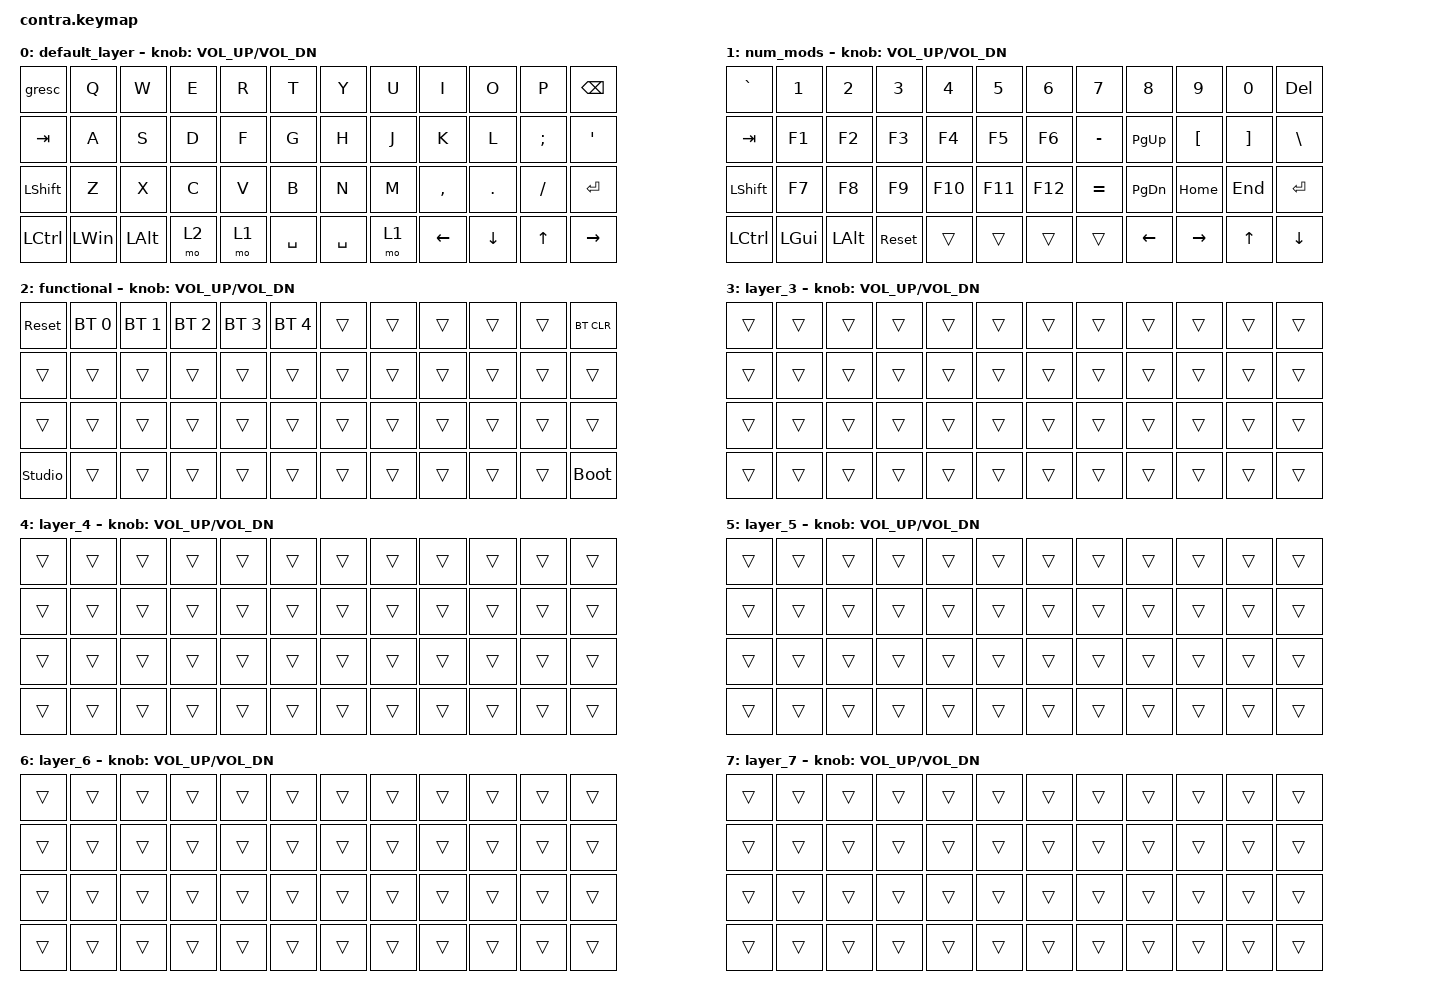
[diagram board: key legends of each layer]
/*
 * Copyright (c) 2021 The ZMK Contributors
 *
 * SPDX-License-Identifier: MIT
 */

#include <behaviors.dtsi>
#include <dt-bindings/gpio/gpio.h>
#include <dt-bindings/zmk/bt.h>
#include <dt-bindings/zmk/keys.h>

#define DEFAULT     0
#define NUM_MODS    1
#define functional  2

/ {
    encoder_0: encoder_0 {
        compatible = "alps,ec11";
        a-gpios = <&pro_micro 15 (GPIO_ACTIVE_HIGH | GPIO_PULL_UP)>;
        b-gpios = <&pro_micro 18 (GPIO_ACTIVE_HIGH | GPIO_PULL_UP)>;
        steps = <80>;
        status = "okay";
    };

    sensors: sensors {
        compatible = "zmk,keymap-sensors";
        sensors = <&encoder_0>;
        triggers-per-rotation = <20>;
    };

    behaviors {
        td_ESC: tap_dance_0 {
            compatible = "zmk,behavior-tap-dance";
            #binding-cells = <0>;
            tapping-term-ms = <200>;
            bindings = <&kp ESC>, <&kp CAPS>;
        };

        td_ESC_grave: tap_dance_1 {
            compatible = "zmk,behavior-tap-dance";
            #binding-cells = <0>;
            tapping-term-ms = <200>;
            bindings = <&kp ESC>, <&kp GRAVE>;
        };

        lr_up: layer_up {
            compatible = "zmk,behavior-mod-morph";
            #binding-cells = <0>;
            bindings = <&to 0>, <&to 0>;

            mods = <(MOD_LSFT)>;
        };

        lr_upg: layer_up_game_mode {
            compatible = "zmk,behavior-mod-morph";
            #binding-cells = <0>;
            bindings = <&mo 0>, <&to 0>;

            mods = <(MOD_LSFT)>;
        };
    };

    keymap {
        compatible = "zmk,keymap";

        default_layer {
            sensor-bindings = <&inc_dec_kp C_VOL_UP C_VOL_DN>;
            bindings = <
&gresc     &kp Q         &kp W         &kp E  &kp R  &kp T      &kp Y      &kp U  &kp I      &kp O     &kp P          &kp BSPC
&kp TAB    &kp A         &kp S         &kp D  &kp F  &kp G      &kp H      &kp J  &kp K      &kp L     &kp SEMICOLON  &kp SQT
&kp LSHFT  &kp Z         &kp X         &kp C  &kp V  &kp B      &kp N      &kp M  &kp COMMA  &kp DOT   &kp FSLH       &kp ENTER
&kp LCTRL  &kp LEFT_WIN  &kp LEFT_ALT  &mo 2  &mo 1  &kp SPACE  &kp SPACE  &mo 1  &kp LEFT   &kp DOWN  &kp UP         &kp RIGHT
            >;
        };

        num_mods {
            sensor-bindings = <&inc_dec_kp C_VOL_UP C_VOL_DN>;
            bindings = <
&kp GRAVE  &kp N1    &kp N2    &kp N3      &kp N4   &kp N5   &kp N6   &kp N7     &kp N8     &kp N9     &kp N0    &kp DEL
&kp TAB    &kp F1    &kp F2    &kp F3      &kp F4   &kp F5   &kp F6   &kp MINUS  &kp PG_UP  &kp LBKT   &kp RBKT  &kp BSLH
&kp LSHFT  &kp F7    &kp F8    &kp F9      &kp F10  &kp F11  &kp F12  &kp EQUAL  &kp PG_DN  &kp HOME   &kp END   &kp ENTER
&kp LCTRL  &kp LGUI  &kp LALT  &sys_reset  &trans   &trans   &trans   &trans     &kp LEFT   &kp RIGHT  &kp UP    &kp DOWN
            >;
        };

        functional {
            sensor-bindings = <&inc_dec_kp C_VOL_UP C_VOL_DN>;
            bindings = <
&sys_reset      &bt BT_SEL 0  &bt BT_SEL 1  &bt BT_SEL 2  &bt BT_SEL 3  &bt BT_SEL 4  &trans  &trans  &trans  &trans  &trans  &bt BT_CLR
&trans          &trans        &trans        &trans        &trans        &trans        &trans  &trans  &trans  &trans  &trans  &trans
&trans          &trans        &trans        &trans        &trans        &trans        &trans  &trans  &trans  &trans  &trans  &trans
&studio_unlock  &trans        &trans        &trans        &trans        &trans        &trans  &trans  &trans  &trans  &trans  &bootloader
            >;
        };

        layer_3 {
            sensor-bindings = <&inc_dec_kp C_VOL_UP C_VOL_DN>;
            bindings = <
&trans  &trans  &trans  &trans  &trans  &trans  &trans  &trans  &trans  &trans  &trans  &trans
&trans  &trans  &trans  &trans  &trans  &trans  &trans  &trans  &trans  &trans  &trans  &trans
&trans  &trans  &trans  &trans  &trans  &trans  &trans  &trans  &trans  &trans  &trans  &trans
&trans  &trans  &trans  &trans  &trans  &trans  &trans  &trans  &trans  &trans  &trans  &trans
            >;
        };

        layer_4 {
            sensor-bindings = <&inc_dec_kp C_VOL_UP C_VOL_DN>;
            bindings = <
&trans  &trans  &trans  &trans  &trans  &trans  &trans  &trans  &trans  &trans  &trans  &trans
&trans  &trans  &trans  &trans  &trans  &trans  &trans  &trans  &trans  &trans  &trans  &trans
&trans  &trans  &trans  &trans  &trans  &trans  &trans  &trans  &trans  &trans  &trans  &trans
&trans  &trans  &trans  &trans  &trans  &trans  &trans  &trans  &trans  &trans  &trans  &trans
            >;
        };

        layer_5 {
            sensor-bindings = <&inc_dec_kp C_VOL_UP C_VOL_DN>;
            bindings = <
&trans  &trans  &trans  &trans  &trans  &trans  &trans  &trans  &trans  &trans  &trans  &trans
&trans  &trans  &trans  &trans  &trans  &trans  &trans  &trans  &trans  &trans  &trans  &trans
&trans  &trans  &trans  &trans  &trans  &trans  &trans  &trans  &trans  &trans  &trans  &trans
&trans  &trans  &trans  &trans  &trans  &trans  &trans  &trans  &trans  &trans  &trans  &trans
            >;
        };

        layer_6 {
            sensor-bindings = <&inc_dec_kp C_VOL_UP C_VOL_DN>;
            bindings = <
&trans  &trans  &trans  &trans  &trans  &trans  &trans  &trans  &trans  &trans  &trans  &trans
&trans  &trans  &trans  &trans  &trans  &trans  &trans  &trans  &trans  &trans  &trans  &trans
&trans  &trans  &trans  &trans  &trans  &trans  &trans  &trans  &trans  &trans  &trans  &trans
&trans  &trans  &trans  &trans  &trans  &trans  &trans  &trans  &trans  &trans  &trans  &trans
            >;
        };

        layer_7 {
            sensor-bindings = <&inc_dec_kp C_VOL_UP C_VOL_DN>;
            bindings = <
&trans  &trans  &trans  &trans  &trans  &trans  &trans  &trans  &trans  &trans  &trans  &trans
&trans  &trans  &trans  &trans  &trans  &trans  &trans  &trans  &trans  &trans  &trans  &trans
&trans  &trans  &trans  &trans  &trans  &trans  &trans  &trans  &trans  &trans  &trans  &trans
&trans  &trans  &trans  &trans  &trans  &trans  &trans  &trans  &trans  &trans  &trans  &trans
            >;
        };
    };
};
